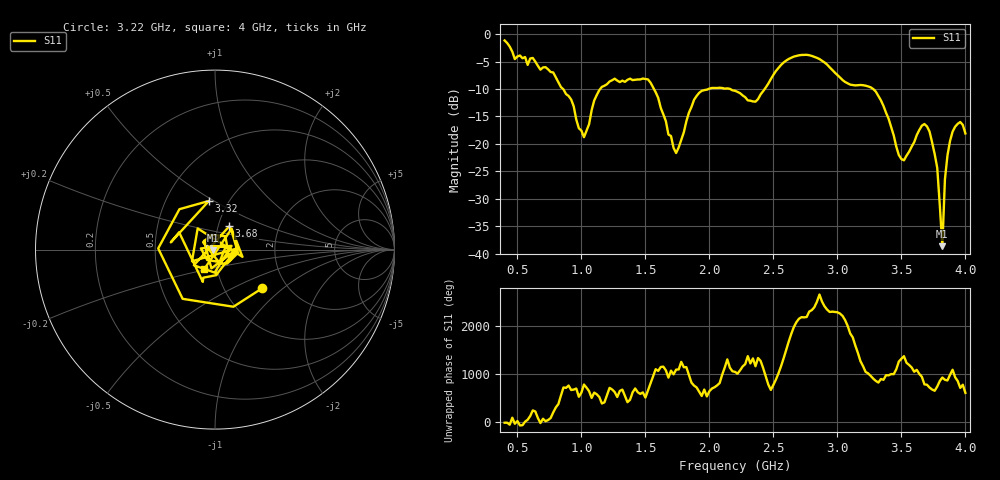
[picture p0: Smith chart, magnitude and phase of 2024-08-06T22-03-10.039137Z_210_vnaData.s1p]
!Created with skrf (http://scikit-rf.org).
# Hz S RI R 50.0
!freq ReS11 ImS11
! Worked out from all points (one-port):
!   181 points, 400 MHz to 4 GHz, reference 50 ohm
!   lowest |S11| = -38.7 dB at 3.82 GHz (marker M1), VSWR 1.02, Z = 48.9 - j0.427 ohm
!   |S11| at or under -10 dB: 857.2 MHz to 1.146 GHz (288.9 MHz wide, 28.8 % of centre); 1.567 GHz to 1.991 GHz (424.3 MHz wide, 23.8 % of centre); 3.28 GHz to end of sweep (the widest 3 of 4)
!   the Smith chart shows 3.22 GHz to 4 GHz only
!   S11 on the Smith chart (normalised r, x): 3.22 GHz: 1.50, -0.73; 3.32 GHz: 0.81, +0.47; 3.68 GHz: 1.13, +0.30; 4 GHz: 0.87, -0.19
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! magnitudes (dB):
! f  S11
! 400 MHz  -1.1
! 480 MHz  -4.5
! 620 MHz  -4.3
! 860 MHz  -10.1
! 1.02 GHz  -18.8
! 1.14 GHz  -10.2
! 1.3 GHz  -8.7
! 1.52 GHz  -8.2
! 1.72 GHz  -20.7
! 1.76 GHz  -20.6
! 1.92 GHz  -10.7
! 2.2 GHz  -10.3
! 2.36 GHz  -12.3
! 2.66 GHz  -4.1
! 2.86 GHz  -4.5
! 3.1 GHz  -9.2
! 3.22 GHz  -9.4
! 3.32 GHz  -11.3
! 3.48 GHz  -22.0
! 3.56 GHz  -21.4
! 3.68 GHz  -16.4
! 3.72 GHz  -17.8
! 3.78 GHz  -24.4
! 3.82 GHz  -38.7
! 3.84 GHz  -26.5
! 3.88 GHz  -19.5
! 3.96 GHz  -16.0
! 4 GHz  -18.1
